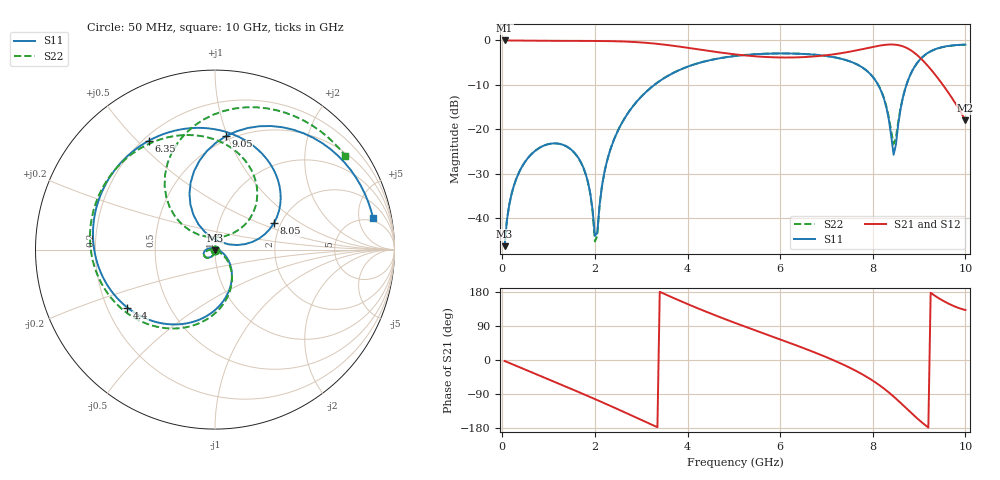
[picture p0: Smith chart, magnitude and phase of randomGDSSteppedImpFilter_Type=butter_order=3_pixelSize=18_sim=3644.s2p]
! freq	dB(S11)	phase(S11)	dB(S12)	phase(S12)
!  dB(S21)	phase(S21)	dB(S22)	phase(S22)
!S-par simulation data
#  GHz  S  DB  R 50
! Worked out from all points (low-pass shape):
!   200 points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, 50 MHz to 10 GHz, reference 50 ohm
!   highest |S21| = 0.00 dB at 50 MHz (marker M1); lowest = -18.0 dB at 10 GHz (marker M2)
!   |S21| within 3 dB of the highest: start of sweep to 4.917 GHz; 7.237 GHz to 8.924 GHz (1.686 GHz wide, 20.9 % of centre)
!   lowest |S11| = -46.3 dB at 50 MHz (marker M3), VSWR 1.01, Z = 50 - j0.482 ohm
!   |S11| at or under -10 dB: start of sweep to 3.286 GHz; 8.114 GHz to 8.728 GHz (614 MHz wide, 7.29 % of centre)
!   |S22| runs from -46.3 to -1.0 dB; largest |S21 - S12| = 0
!   S11 on the Smith chart (normalised r, x): 50 MHz: 1.00, -0.01; 4.4 GHz: 0.28, -0.28; 6.35 GHz: 0.22, +0.54; 8.05 GHz: 1.84, +0.62; 9.05 GHz: 0.47, +0.98; 10 GHz: 4.30, +7.80
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0.05  -46.35 -89.5  -0.00 -2.6  -0.00 -2.6  -46.34 -89.3
0.25  -32.73 -102.9  -0.02 -12.9  -0.02 -12.9  -32.73 -102.1
0.65  -25.41 -125.1  -0.05 -33.3  -0.05 -33.3  -25.41 -122.9
1.25  -23.33 -157.6  -0.09 -64.0  -0.09 -64.0  -23.34 -152.4
1.75  -28.62 171.6  -0.11 -89.9  -0.11 -89.9  -28.68 -174.3
1.9  -34.43 155.8  -0.11 -97.8  -0.11 -97.8  -34.61 -175.6
2  -44.02 110.9  -0.12 -103.1  -0.12 -103.1  -45.28 -142.2
2.2  -29.98 -16.1  -0.14 -113.8  -0.14 -113.8  -29.94 -31.6
2.4  -22.67 -32.5  -0.17 -124.6  -0.17 -124.6  -22.63 -37.9
3.4  -9.13 -92.5  -0.83 179.9  -0.83 179.9  -9.11 -89.1
4.4  -4.65 -146.4  -2.27 127.5  -2.27 127.5  -4.64 -139.2
5.05  -3.48 -178.1  -3.17 96.8  -3.17 96.8  -3.47 -168.3
6.35  -2.98 121.2  -3.82 38.6  -3.82 38.6  -2.97 137.1
6.7  -3.17 104.1  -3.63 22.2  -3.63 22.2  -3.17 121.8
7.5  -4.70 60.5  -2.54 -20.2  -2.54 -20.2  -4.70 82.6
8.05  -8.90 24.1  -1.36 -58.5  -1.36 -58.5  -8.86 49.7
8.35  -18.01 11.7  -0.92 -86.0  -0.92 -86.0  -17.50 42.5
8.45  -25.74 54.8  -0.93 -96.4  -0.93 -96.4  -23.30 82.1
8.7  -10.91 118.7  -1.54 -124.6  -1.54 -124.6  -10.87 140.6
9.05  -3.96 84.6  -4.19 -163.6  -4.19 -163.6  -4.00 109.1
9.45  -1.63 48.8  -9.11 161.2  -9.11 161.2  -1.67 73.9
10  -0.93 11.3  -18.00 131.9  -18.00 131.9  -0.97 35.8
